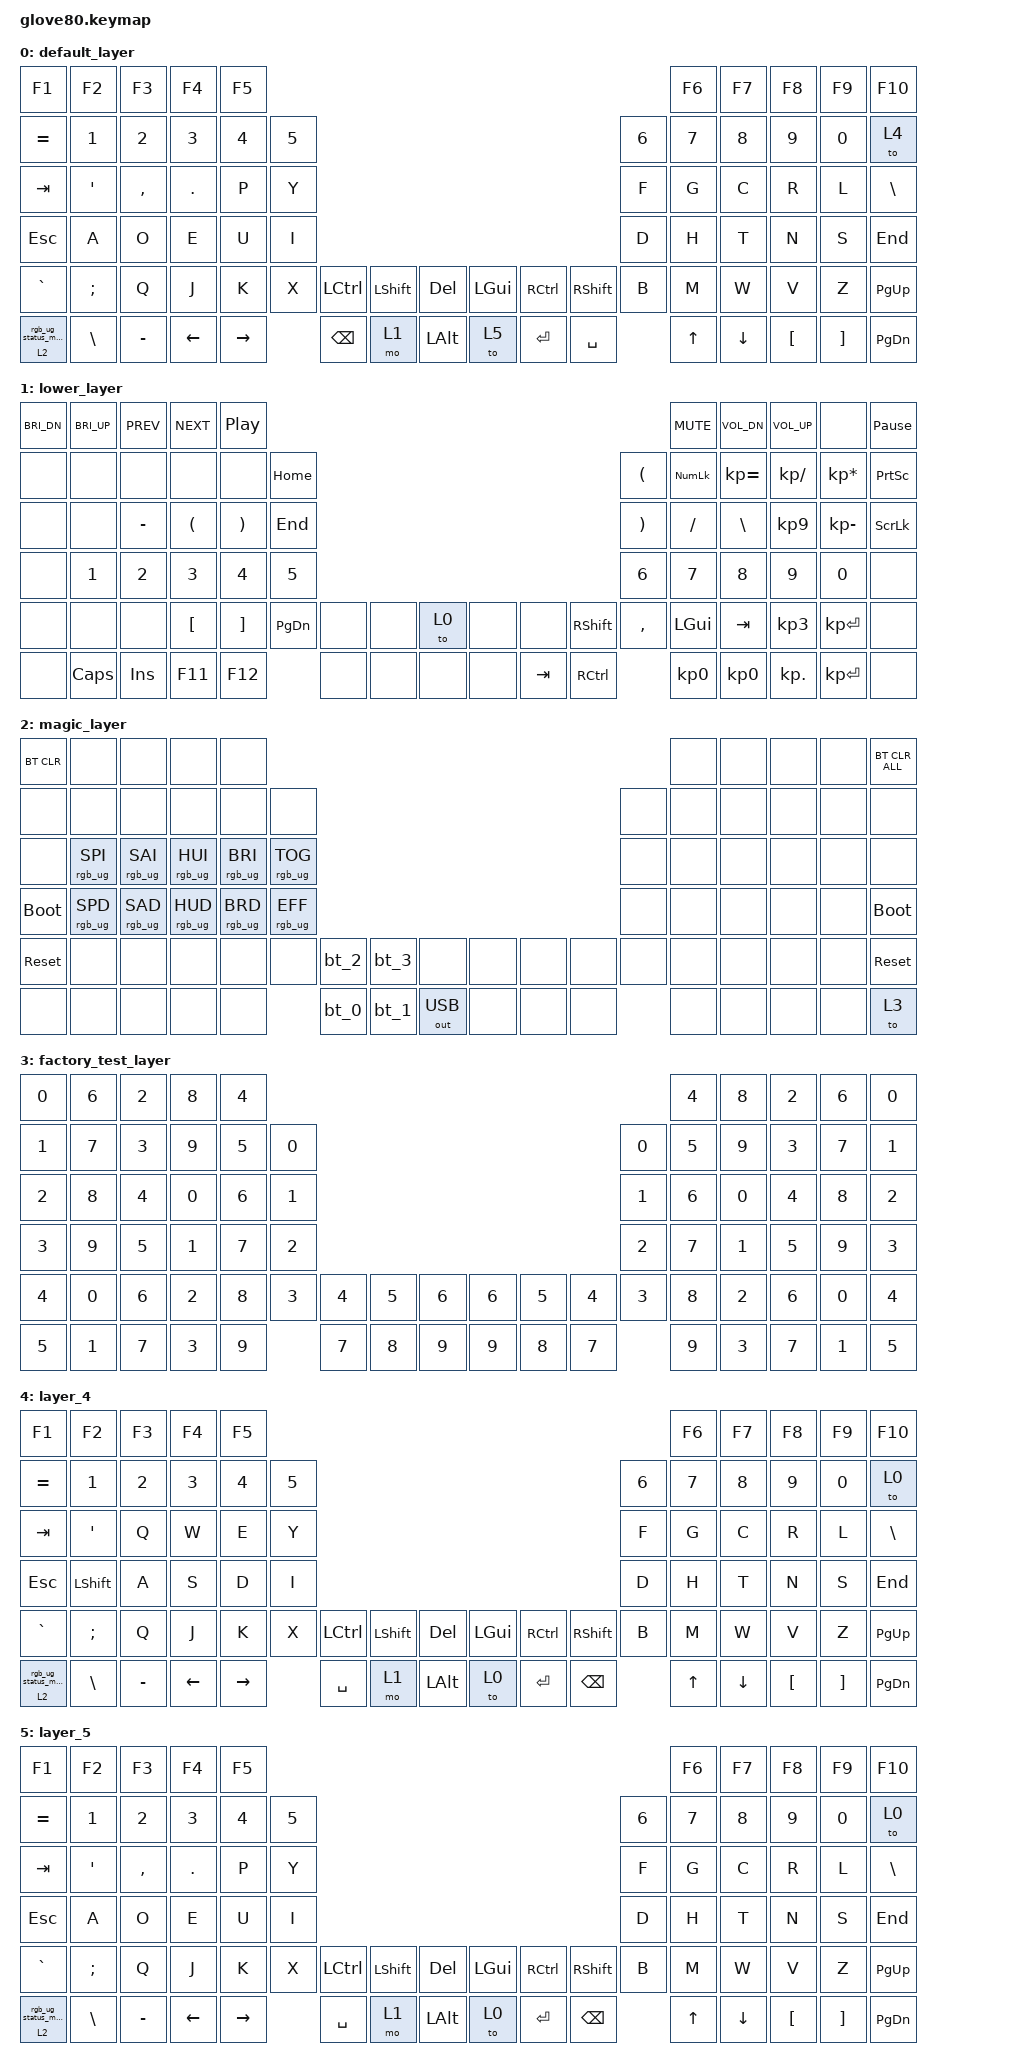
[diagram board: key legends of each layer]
/*
 * Copyright (c) 2020 The ZMK Contributors
 *
 * SPDX-License-Identifier: MIT
 */

#include <behaviors.dtsi>
#include <dt-bindings/zmk/bt.h>
#include <dt-bindings/zmk/keys.h>
#include <dt-bindings/zmk/outputs.h>
#include <dt-bindings/zmk/rgb.h>

#define HYPER LC(LS(LG(LALT)))

// layers

#define DEFAULT 0
#define LOWER 1
#define MAGIC 2
#define FACTORY_TEST 3

/ {
    behaviors {
        // For the "layer" key, it'd nice to be able to use it as either a shift or a toggle.
        // Configure it as a tap dance, so the first tap (or hold) is a &mo and the second tap is a &to

        layer_td: tap_dance_0 {
            compatible = "zmk,behavior-tap-dance";
            label = "LAYER_TAP_DANCE";
            #binding-cells = <0>;
            tapping-term-ms = <200>;
            bindings = <&mo 1>, <&to 1>;
        };

        magic: magic_hold_tap {
            compatible = "zmk,behavior-hold-tap";
            label = "MAGIC_HOLD_TAP";
            #binding-cells = <2>;
            flavor = "tap-preferred";
            tapping-term-ms = <200>;
            bindings = <&mo>, <&rgb_ug_status_macro>;
        };
    };

    macros {
        rgb_ug_status_macro: rgb_ug_status_macro_0 {
            label = "RGB_UG_STATUS";
            compatible = "zmk,behavior-macro";
            #binding-cells = <0>;
            bindings = <&rgb_ug RGB_STATUS>;
        };

        bt_0: bt_profile_macro_0 {
            label = "BT_0";
            compatible = "zmk,behavior-macro";
            #binding-cells = <0>;
            bindings = <&out OUT_BLE &bt BT_SEL 0>;
        };

        bt_1: bt_profile_macro_1 {
            label = "BT_1";
            compatible = "zmk,behavior-macro";
            #binding-cells = <0>;
            bindings = <&out OUT_BLE &bt BT_SEL 1>;
        };

        bt_2: bt_profile_macro_2 {
            label = "BT_2";
            compatible = "zmk,behavior-macro";
            #binding-cells = <0>;
            bindings = <&out OUT_BLE &bt BT_SEL 2>;
        };

        bt_3: bt_profile_macro_3 {
            label = "BT_3";
            compatible = "zmk,behavior-macro";
            #binding-cells = <0>;
            bindings = <&out OUT_BLE &bt BT_SEL 3>;
        };
    };

    combos { compatible = "zmk,combos"; };

    keymap {
        compatible = "zmk,keymap";

        default_layer {
            // ---------------------------------------------------------------------------------------------------------------------------------
            // |  F1   |  F2 |  F3 |  F4  |  F5  |                                                               |  F6   |  F7   |  F8  |   F9  |  F10 |
            // |  =    |  1  |  2  |  3   |  4   |  5   |                                                 |  6   |   7   |   8   |  9   |   0   |   -  |
            // |  TAB  |  Q  |  W  |  E   |  R   |  T   |                                                 |  Y   |   U   |   I   |  O   |   P   |   \  |
            // |  ESC  |  A  |  S  |  D   |  F   |  G   |                                                 |  H   |   J   |   K   |  L   |   ;   |   '  |
            // |   `   |  Z  |  X  |  C   |  V   |  B   | LSHFT | LCTRL | LOWER | | LGUI  | RCTRL | RSHFT |  N   |   M   |   ,   |  .   |   /   | PGUP |
            // | MAGIC | HOME| END | LEFT | RIGHT|      | BSPC  | DEL   | LALT  | | RALT  | RET   | SPACE |      |  UP   | DOWN  |  [   |   ]   | PGDN |

            bindings = <
&kp F1      &kp F2         &kp F3     &kp F4      &kp F5                                                                                          &kp F6  &kp F7    &kp F8    &kp F9    &kp F10
&kp EQUAL   &kp N1         &kp N2     &kp N3      &kp N4     &kp N5                                                                       &kp N6  &kp N7  &kp N8    &kp N9    &kp N0    &to 4
&kp TAB     &kp SQT        &kp COMMA  &kp PERIOD  &kp P      &kp Y                                                                        &kp F   &kp G   &kp C     &kp R     &kp L     &kp BSLH
&kp ESC     &kp A          &kp O      &kp E       &kp U      &kp I                                                                        &kp D   &kp H   &kp T     &kp N     &kp S     &kp END
&kp GRAVE   &kp SEMICOLON  &kp Q      &kp J       &kp K      &kp X   &kp LCTRL  &kp LEFT_SHIFT  &kp DEL   &kp LGUI  &kp RCTRL  &kp RSHFT  &kp B   &kp M   &kp W     &kp V     &kp Z     &kp PG_UP
&magic 2 0  &kp BACKSLASH  &kp MINUS  &kp LEFT    &kp RIGHT          &kp BSPC   &mo 1           &kp LALT  &to 5     &kp RET    &kp SPACE          &kp UP  &kp DOWN  &kp LBKT  &kp RBKT  &kp PG_DN
            >;
        };

        lower_layer {
            bindings = <
&kp C_BRI_DN  &kp C_BRI_UP  &kp C_PREV  &kp C_NEXT            &kp C_PP                                                                                           &kp C_MUTE    &kp C_VOL_DN   &kp C_VOL_UP   &none            &kp PAUSE_BREAK
&none         &none         &none       &none                 &none                  &kp HOME                                                      &kp LPAR      &kp KP_NUM    &kp KP_EQUAL   &kp KP_DIVIDE  &kp KP_MULTIPLY  &kp PSCRN
&none         &none         &kp MINUS   &kp LEFT_PARENTHESIS  &kp RIGHT_PARENTHESIS  &kp END                                                       &kp RPAR      &kp SLASH     &kp BACKSLASH  &kp KP_N9      &kp KP_MINUS     &kp SLCK
&none         &kp NUMBER_1  &kp N2      &kp NUMBER_3          &kp NUMBER_4           &kp NUMBER_5                                                  &kp NUMBER_6  &kp NUMBER_7  &kp NUMBER_8   &kp NUMBER_9   &kp NUMBER_0     &none
&none         &none         &none       &kp LEFT_BRACKET      &kp RIGHT_BRACKET      &kp PG_DN     &none  &none  &to 0  &none  &none    &kp RSHFT  &kp COMMA     &kp LEFT_GUI  &kp TAB        &kp KP_N3      &kp KP_ENTER     &none
&none         &kp CAPS      &kp INS     &kp F11               &kp F12                              &none  &none  &none  &none  &kp TAB  &kp RCTRL                &kp KP_N0     &kp KP_N0      &kp KP_DOT     &kp KP_ENTER     &none
            >;
        };

        magic_layer {
            bindings = <
&bt BT_CLR   &none            &none            &none            &none                                                                                     &none  &none  &none  &none  &bt BT_CLR_ALL
&none        &none            &none            &none            &none            &none                                                             &none  &none  &none  &none  &none  &none
&none        &rgb_ug RGB_SPI  &rgb_ug RGB_SAI  &rgb_ug RGB_HUI  &rgb_ug RGB_BRI  &rgb_ug RGB_TOG                                                   &none  &none  &none  &none  &none  &none
&bootloader  &rgb_ug RGB_SPD  &rgb_ug RGB_SAD  &rgb_ug RGB_HUD  &rgb_ug RGB_BRD  &rgb_ug RGB_EFF                                                   &none  &none  &none  &none  &none  &bootloader
&sys_reset   &none            &none            &none            &none            &none            &bt_2  &bt_3  &none         &none  &none  &none  &none  &none  &none  &none  &none  &sys_reset
&none        &none            &none            &none            &none                             &bt_0  &bt_1  &out OUT_USB  &none  &none  &none         &none  &none  &none  &none  &to 3
            >;
        };

        factory_test_layer {
            bindings = <
&kp N0  &kp N6  &kp N2  &kp N8  &kp N4                                                                  &kp N4  &kp N8  &kp N2  &kp N6  &kp N0
&kp N1  &kp N7  &kp N3  &kp N9  &kp N5  &kp N0                                                  &kp N0  &kp N5  &kp N9  &kp N3  &kp N7  &kp N1
&kp N2  &kp N8  &kp N4  &kp N0  &kp N6  &kp N1                                                  &kp N1  &kp N6  &kp N0  &kp N4  &kp N8  &kp N2
&kp N3  &kp N9  &kp N5  &kp N1  &kp N7  &kp N2                                                  &kp N2  &kp N7  &kp N1  &kp N5  &kp N9  &kp N3
&kp N4  &kp N0  &kp N6  &kp N2  &kp N8  &kp N3  &kp N4  &kp N5  &kp N6  &kp N6  &kp N5  &kp N4  &kp N3  &kp N8  &kp N2  &kp N6  &kp N0  &kp N4
&kp N5  &kp N1  &kp N7  &kp N3  &kp N9          &kp N7  &kp N8  &kp N9  &kp N9  &kp N8  &kp N7          &kp N9  &kp N3  &kp N7  &kp N1  &kp N5
            >;
        };

        layer_4 {
            bindings = <
&kp F1      &kp F2          &kp F3     &kp F4    &kp F5                                                                                              &kp F6  &kp F7    &kp F8    &kp F9    &kp F10
&kp EQUAL   &kp N1          &kp N2     &kp N3    &kp N4     &kp N5                                                                           &kp N6  &kp N7  &kp N8    &kp N9    &kp N0    &to 0
&kp TAB     &kp SQT         &kp Q      &kp W     &kp E      &kp Y                                                                            &kp F   &kp G   &kp C     &kp R     &kp L     &kp BSLH
&kp ESC     &kp LEFT_SHIFT  &kp A      &kp S     &kp D      &kp I                                                                            &kp D   &kp H   &kp T     &kp N     &kp S     &kp END
&kp GRAVE   &kp SEMICOLON   &kp Q      &kp J     &kp K      &kp X   &kp LCTRL  &kp LEFT_SHIFT  &kp DEL   &kp LGUI  &kp RCTRL  &kp RSHFT      &kp B   &kp M   &kp W     &kp V     &kp Z     &kp PG_UP
&magic 2 0  &kp BACKSLASH   &kp MINUS  &kp LEFT  &kp RIGHT          &kp SPACE  &mo 1           &kp LALT  &to 0     &kp RET    &kp BACKSPACE          &kp UP  &kp DOWN  &kp LBKT  &kp RBKT  &kp PG_DN
            >;
        };

        layer_5 {
            bindings = <
&kp F1      &kp F2         &kp F3     &kp F4      &kp F5                                                                                              &kp F6  &kp F7    &kp F8    &kp F9    &kp F10
&kp EQUAL   &kp N1         &kp N2     &kp N3      &kp N4     &kp N5                                                                           &kp N6  &kp N7  &kp N8    &kp N9    &kp N0    &to 0
&kp TAB     &kp SQT        &kp COMMA  &kp PERIOD  &kp P      &kp Y                                                                            &kp F   &kp G   &kp C     &kp R     &kp L     &kp BSLH
&kp ESC     &kp A          &kp O      &kp E       &kp U      &kp I                                                                            &kp D   &kp H   &kp T     &kp N     &kp S     &kp END
&kp GRAVE   &kp SEMICOLON  &kp Q      &kp J       &kp K      &kp X   &kp LCTRL  &kp LEFT_SHIFT  &kp DEL   &kp LGUI  &kp RCTRL  &kp RSHFT      &kp B   &kp M   &kp W     &kp V     &kp Z     &kp PG_UP
&magic 2 0  &kp BACKSLASH  &kp MINUS  &kp LEFT    &kp RIGHT          &kp SPACE  &mo 1           &kp LALT  &to 0     &kp RET    &kp BACKSPACE          &kp UP  &kp DOWN  &kp LBKT  &kp RBKT  &kp PG_DN
            >;
        };
    };
};
